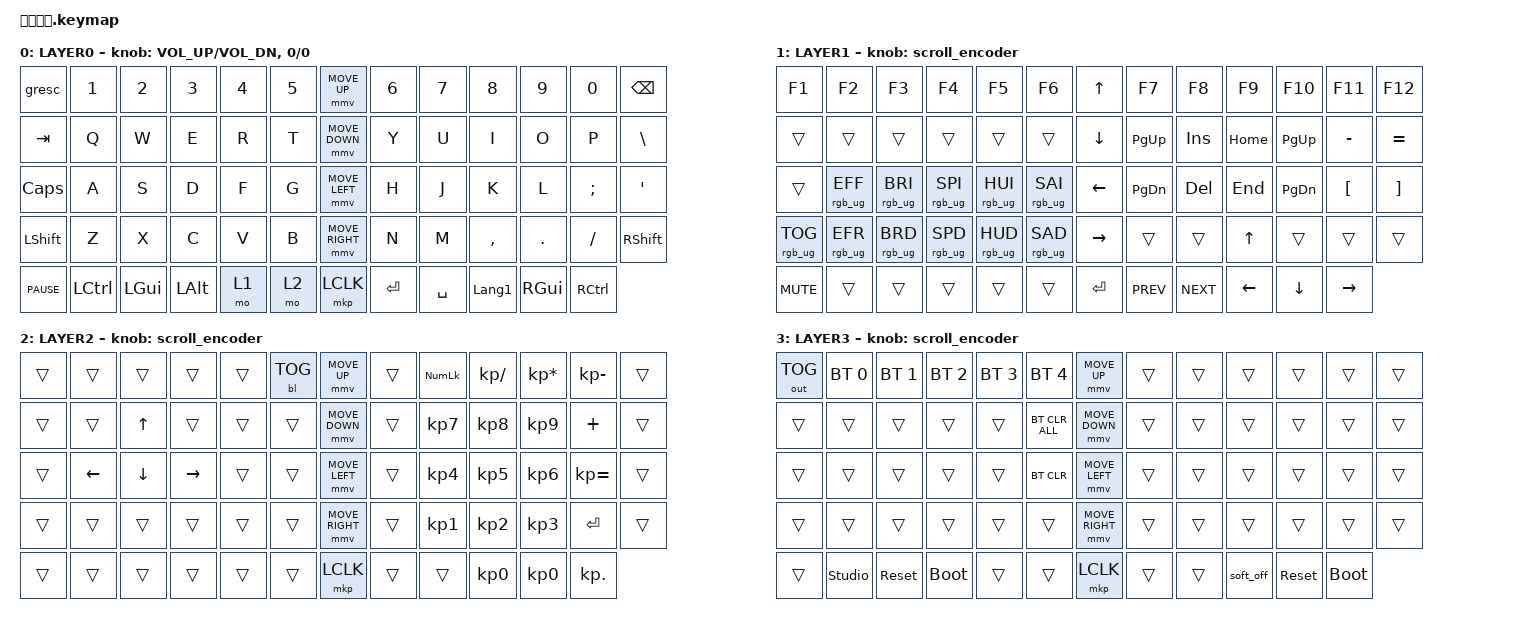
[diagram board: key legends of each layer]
#define ZMK_POINTING_DEFAULT_MOVE_VAL 1200  // 600
#define ZMK_POINTING_DEFAULT_SCRL_VAL 25   // 10

#include <input/processors.dtsi>
#include <zephyr/dt-bindings/input/input-event-codes.h>
#include <behaviors.dtsi>
#include <dt-bindings/zmk/backlight.h>
#include <dt-bindings/zmk/bt.h>
#include <dt-bindings/zmk/keys.h>
#include <dt-bindings/zmk/outputs.h>
#include <dt-bindings/zmk/pointing.h>
#include <dt-bindings/zmk/rgb.h>

&mmv_input_listener { input-processors = <&zip_xy_scaler 2 1>; };

&msc_input_listener { input-processors = <&zip_scroll_scaler 2 1>; };

&msc {
    acceleration-exponent = <1>;      // 0
    time-to-max-speed-ms = <100>;       // 300
    delay-ms = <0>;                   // 0
};

&mmv {
    time-to-max-speed-ms = <500>;
    acceleration-exponent = <1>;
    trigger-period-ms = <16>;
};

/ {
    scroll_encoder: scroll_encoder {
        compatible = "zmk,behavior-sensor-rotate";
        #sensor-binding-cells = <0>;
        bindings = <&msc SCRL_DOWN>, <&msc SCRL_UP>;

        tap-ms = <100>;
    };

    behaviors {
    };

    combos {
        compatible = "zmk,combos";

        rightB {
            bindings = <&kp B>;
            key-positions = <46 47>;
        };
    };

    keymap {
        compatible = "zmk,keymap";

        LAYER0 {
            bindings = <
&gresc       &kp N1     &kp N2        &kp N3        &kp N4  &kp N5    &mmv MOVE_UP     &kp N6     &kp N7     &kp N8          &kp N9    &kp N0     &kp BACKSPACE
&kp TAB      &kp Q      &kp W         &kp E         &kp R   &kp T     &mmv MOVE_DOWN   &kp Y      &kp U      &kp I           &kp O     &kp P      &kp BSLH
&kp CAPS     &kp A      &kp S         &kp D         &kp F   &kp G     &mmv MOVE_LEFT   &kp H      &kp J      &kp K           &kp L     &kp SEMI   &kp APOS
&kp LSHFT    &kp Z      &kp X         &kp C         &kp V   &kp B     &mmv MOVE_RIGHT  &kp N      &kp M      &kp COMMA       &kp DOT   &kp FSLH   &kp RSHFT
&kp C_PAUSE  &kp LCTRL  &kp LEFT_GUI  &kp LEFT_ALT  &mo 1   &mo 2     &mkp LCLK        &kp ENTER  &kp SPACE  &kp LANGUAGE_1  &kp RGUI  &kp RCTRL
            >;

            sensor-bindings =
                <&inc_dec_kp C_VOLUME_UP C_VOL_DN>,
                <&inc_dec_kp 0 0>;

            display-name = "LAYER0";
        };

        LAYER1 {
            bindings = <
&kp F1           &kp F2           &kp F3           &kp F4           &kp F5           &kp F6             &kp UP     &kp F7      &kp F8      &kp F9    &kp F10    &kp F11           &kp F12
&trans           &trans           &trans           &trans           &trans           &trans             &kp DOWN   &kp PG_UP   &kp INS     &kp HOME  &kp PG_UP  &kp MINUS         &kp EQUAL
&trans           &rgb_ug RGB_EFF  &rgb_ug RGB_BRI  &rgb_ug RGB_SPI  &rgb_ug RGB_HUI  &rgb_ug RGB_SAI    &kp LEFT   &kp PG_DN   &kp DEL     &kp END   &kp PG_DN  &kp LEFT_BRACKET  &kp RIGHT_BRACKET
&rgb_ug RGB_TOG  &rgb_ug RGB_EFR  &rgb_ug RGB_BRD  &rgb_ug RGB_SPD  &rgb_ug RGB_HUD  &rgb_ug RGB_SAD    &kp RIGHT  &trans      &trans      &kp UP    &trans     &trans            &trans
&kp C_MUTE       &trans           &trans           &trans           &trans           &trans             &kp RET    &kp C_PREV  &kp C_NEXT  &kp LEFT  &kp DOWN   &kp RIGHT
            >;

            sensor-bindings =
                <&inc_dec_kp C_VOLUME_UP C_VOL_DN>,
                <&inc_dec_kp 0 0>;

            display-name = "LAYER1";
            sensor-bindings = <&scroll_encoder>;
        };

        LAYER2 {
            bindings = <
&trans  &trans    &trans    &trans     &trans  &bl BL_TOG    &mmv MOVE_UP     &trans  &kp KP_NUM  &kp KP_SLASH  &kp KP_ASTERISK  &kp KP_MINUS  &trans
&trans  &trans    &kp UP    &trans     &trans  &trans        &mmv MOVE_DOWN   &trans  &kp KP_N7   &kp KP_N8     &kp KP_N9        &kp PLUS      &trans
&trans  &kp LEFT  &kp DOWN  &kp RIGHT  &trans  &trans        &mmv MOVE_LEFT   &trans  &kp KP_N4   &kp KP_N5     &kp KP_N6        &kp KP_EQUAL  &trans
&trans  &trans    &trans    &trans     &trans  &trans        &mmv MOVE_RIGHT  &trans  &kp KP_N1   &kp KP_N2     &kp KP_N3        &kp ENTER     &trans
&trans  &trans    &trans    &trans     &trans  &trans        &mkp LCLK        &trans  &trans      &kp KP_N0     &kp KP_N0        &kp KP_DOT
            >;

            sensor-bindings = <&scroll_encoder>;
            label = "LAYER2";
        };

        LAYER3 {
            bindings = <
&out OUT_TOG  &bt BT_SEL 0    &bt BT_SEL 1  &bt BT_SEL 2  &bt BT_SEL 3  &bt BT_SEL 4      &mmv MOVE_UP     &trans  &trans  &trans     &trans      &trans       &trans
&trans        &trans          &trans        &trans        &trans        &bt BT_CLR_ALL    &mmv MOVE_DOWN   &trans  &trans  &trans     &trans      &trans       &trans
&trans        &trans          &trans        &trans        &trans        &bt BT_CLR        &mmv MOVE_LEFT   &trans  &trans  &trans     &trans      &trans       &trans
&trans        &trans          &trans        &trans        &trans        &trans            &mmv MOVE_RIGHT  &trans  &trans  &trans     &trans      &trans       &trans
&trans        &studio_unlock  &sys_reset    &bootloader   &trans        &trans            &mkp LCLK        &trans  &trans  &soft_off  &sys_reset  &bootloader
            >;

            sensor-bindings = <&scroll_encoder>;
            label = "LAYER3";
        };
    };

    conditional_layers {
        compatible = "zmk,conditional-layers";

        layer3 {
            if-layers = <1 2>;
            then-layer = <3>;
        };
    };
};
